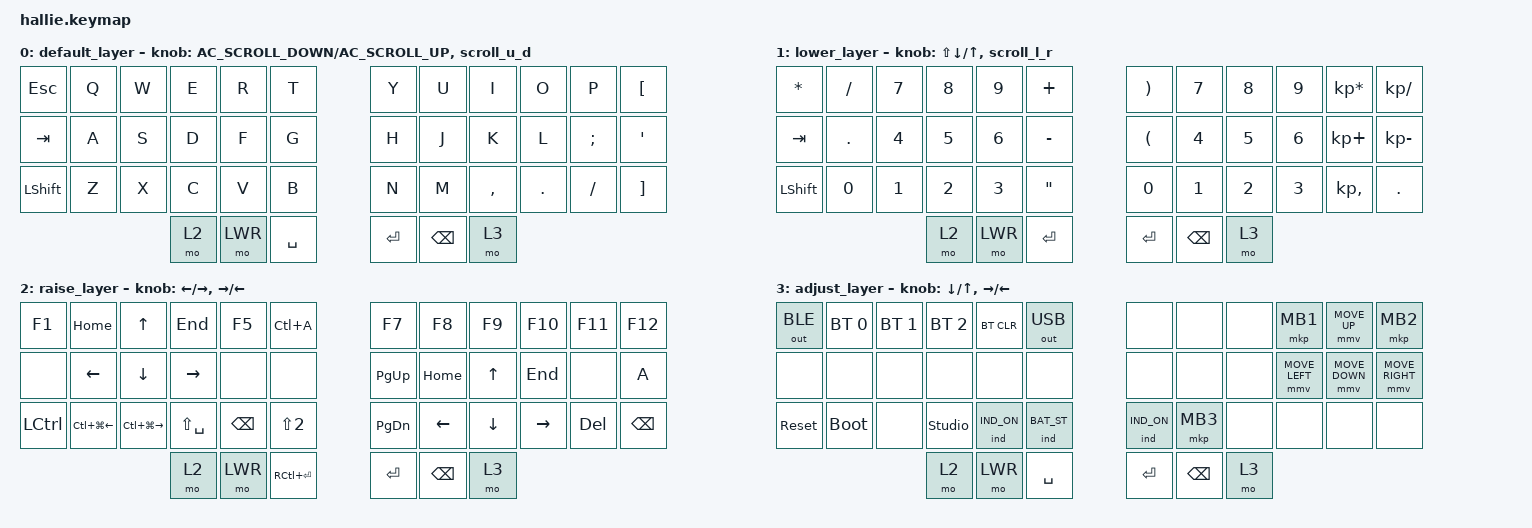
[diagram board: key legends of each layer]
#undef ZMK_BEHAVIORS_KEEP_ALL

#define ZMK_BEHAVIORS_KEEP_IND
#define ZMK_BEHAVIORS_KEEP_BT
#define ZMK_BEHAVIORS_KEEP_GRESC
#define ZMK_BEHAVIORS_KEEP_SYS_RESET
#define ZMK_BEHAVIORS_KEEP_BOOTLOADER
#define ZMK_BEHAVIORS_KEEP_CAPS_WORD
#define ZMK_BEHAVIORS_KEEP_KEY_REPEAT
#define ZMK_BEHAVIORS_KEEP_KT
#define ZMK_BEHAVIORS_KEEP_LT
#define ZMK_BEHAVIORS_KEEP_MT
#define ZMK_BEHAVIORS_KEEP_SK
#define ZMK_BEHAVIORS_KEEP_STICKY_LAYER
#define ZMK_BEHAVIORS_KEEP_TO
#define ZMK_BEHAVIORS_KEEP_TOG
#define ZMK_BEHAVIORS_KEEP_TRANS

#include <behaviors/indicators.dtsi>
#include <dt-bindings/zmk/indicators.h>
#include <behaviors.dtsi>
#include <dt-bindings/zmk/bt.h>
#include <dt-bindings/zmk/keys.h>
#include <dt-bindings/zmk/outputs.h>
#include <dt-bindings/zmk/pointing.h>

#define DEF 0
#define LWR 1
#define RSE 2
#define ADJ 3

&lt { quick_tap_ms = <200>; };

&mt { quick_tap_ms = <200>; };

/ {
    combos {
        compatible = "zmk,combos";

        copy {
            bindings = <&kp LC(C)>;
            key-positions = <16 15>;
            layers = <0>;
        };

        paste {
            bindings = <&kp LC(V)>;
            key-positions = <28 27>;
        };

        pages_fwd {
            bindings = <&kp LC(TAB)>;
            key-positions = <0 1>;
        };

        page_bck {
            bindings = <&kp LC(LS(TAB))>;
            key-positions = <1 2>;
        };
    };

    keymap {
        compatible = "zmk,keymap";

        default_layer {
            bindings = <
&kp ESC    &kp Q  &kp W  &kp E  &kp R    &kp T        &kp Y      &kp U          &kp I      &kp O    &kp P      &kp LEFT_BRACKET
&kp TAB    &kp A  &kp S  &kp D  &kp F    &kp G        &kp H      &kp J          &kp K      &kp L    &kp SEMI   &kp SQT
&kp LSHFT  &kp Z  &kp X  &kp C  &kp V    &kp B        &kp N      &kp M          &kp COMMA  &kp DOT  &kp SLASH  &kp RIGHT_BRACKET
                         &mo 2  &mo LWR  &kp SPACE    &kp ENTER  &kp BACKSPACE  &mo 3
            >;

            sensor-bindings =
                <&inc_dec_kp C_AC_SCROLL_DOWN C_AC_SCROLL_UP>,
                <&scroll_u_d>;
        };

        lower_layer {
            bindings = <
&kp ASTERISK  &kp SLASH  &kp N7  &kp N8  &kp N9   &kp PLUS             &kp RIGHT_PARENTHESIS  &kp N7         &kp N8  &kp N9  &kp KP_MULTIPLY  &kp KP_DIVIDE
&kp TAB       &kp DOT    &kp N4  &kp N5  &kp N6   &kp MINUS            &kp LEFT_PARENTHESIS   &kp N4         &kp N5  &kp N6  &kp KP_PLUS      &kp KP_MINUS
&kp LSHFT     &kp N0     &kp N1  &kp N2  &kp N3   &kp DOUBLE_QUOTES    &kp N0                 &kp N1         &kp N2  &kp N3  &kp KP_COMMA     &kp DOT
                                 &mo 2   &mo LWR  &kp ENTER            &kp ENTER              &kp BACKSPACE  &mo 3
            >;

            sensor-bindings = <&inc_dec_kp LS(DOWN) UP>, <&scroll_l_r>;
        };

        raise_layer {
            bindings = <
&kp F1     &kp HOME                &kp UP             &kp END        &kp F5         &kp LC(A)           &kp F7     &kp F8         &kp F9    &kp F10    &kp F11  &kp F12
&none      &kp LEFT                &kp DOWN           &kp RIGHT      &none          &none               &kp PG_UP  &kp HOME       &kp UP    &kp END    &none    &kp A
&kp LCTRL  &kp LC(LG(LEFT_ARROW))  &kp LC(LG(RIGHT))  &kp LS(SPACE)  &kp BACKSPACE  &kp LS(NUMBER_2)    &kp PG_DN  &kp LEFT       &kp DOWN  &kp RIGHT  &kp DEL  &kp BSPC
                                                      &mo 2          &mo LWR        &kp RC(ENTER)       &kp ENTER  &kp BACKSPACE  &mo 3
            >;

            sensor-bindings =
                <&inc_dec_kp LEFT RIGHT>,
                <&inc_dec_kp RIGHT_ARROW LEFT_ARROW>;
        };

        adjust_layer {
            bindings = <
&out OUT_BLE  &bt BT_SEL 0  &bt BT_SEL 1  &bt BT_SEL 2    &bt BT_CLR   &out OUT_USB    &none        &none          &none  &mkp MB1        &mmv MOVE_UP    &mkp MB2
&none         &none         &none         &none           &none        &none           &none        &none          &none  &mmv MOVE_LEFT  &mmv MOVE_DOWN  &mmv MOVE_RIGHT
&sys_reset    &bootloader   &none         &studio_unlock  &ind IND_ON  &ind BAT_ST     &ind IND_ON  &mkp MB3       &none  &none           &none           &none
                                          &mo 2           &mo LWR      &kp SPACE       &kp ENTER    &kp BACKSPACE  &mo 3
            >;

            sensor-bindings = <&inc_dec_kp DOWN_ARROW UP_ARROW &inc_dec_kp RIGHT_ARROW LEFT_ARROW>;
        };

        extra1 { status = "reserved"; };

        extra2 { status = "reserved"; };

        extra3 { status = "reserved"; };

        extra4 { status = "reserved"; };
    };
};
